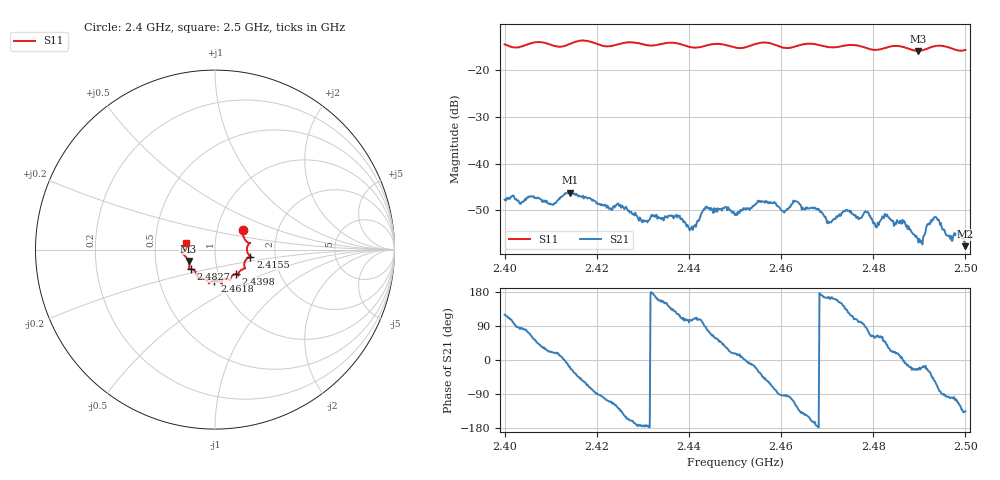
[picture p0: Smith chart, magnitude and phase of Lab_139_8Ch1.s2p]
# Hz S RI R 50
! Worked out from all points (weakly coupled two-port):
!   601 points, 2.4 GHz to 2.5 GHz, reference 50 ohm
!   highest |S21| = -46.19 dB at 2.4142 GHz (marker M1); lowest = -57.7 dB at 2.5 GHz (marker M2)
!   lowest |S11| = -15.9 dB at 2.4897 GHz (marker M3), VSWR 1.38, Z = 36.9 - j4.84 ohm
!   |S11| at or under -10 dB: start of sweep to end of sweep
!   S12 and S22 are empty: the file has one direction only
!   S11 on the Smith chart (normalised r, x): 2.4 GHz: 1.33, +0.29; 2.4155 GHz: 1.49, -0.12; 2.4398 GHz: 1.21, -0.34; 2.4618 GHz: 0.94, -0.33; 2.4827 GHz: 0.75, -0.17; 2.5 GHz: 0.72, +0.06
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2.4e9  0.1552 0.1067  -0.00203 0.00357  0 0  0 0
2.4105e9  0.182 0.0211  0.0034 0.00122  0 0  0 0
2.414167e9  0.1881 -0.0289  0.00468 -0.00149  0 0  0 0
2.4155e9  0.1977 -0.0396  0.00375 -0.00295  0 0  0 0
2.416667e9  0.2024 -0.0428  0.0028 -0.0034  0 0  0 0
2.430167e9  0.1516 -0.111  -0.00237 -0.00032  0 0  0 0
2.433333e9  0.1301 -0.1344  -0.00251 0.00101  0 0  0 0
2.439833e9  0.1152 -0.136  -0.000549 0.00205  0 0  0 0
2.443833e9  0.0854 -0.1623  0.00046 0.00346  0 0  0 0
2.45e9  0.0642 -0.162  0.00268 0.000845  0 0  0 0
2.4555e9  0.037 -0.1919  0.00317 -0.00224  0 0  0 0
2.461833e9  -0.0031 -0.1726  -0.000442 -0.00341  0 0  0 0
2.466667e9  -0.0346 -0.188  -0.0032 -0.00109  0 0  0 0
2.4705e9  -0.0528 -0.1674  -0.00225 0.0007  0 0  0 0
2.474e9  -0.0887 -0.1604  -0.00218 0.00231  0 0  0 0
2.4785e9  -0.1011 -0.1389  0.000269 0.00301  0 0  0 0
2.480667e9  -0.1154 -0.1168  0.000933 0.00185  0 0  0 0
2.482667e9  -0.1348 -0.1084  0.0019 0.00205  0 0  0 0
2.483333e9  -0.14 -0.1082  0.00228 0.00139  0 0  0 0
2.489667e9  -0.147 -0.0639  0.00145 -0.000638  0 0  0 0
2.493667e9  -0.18 -0.0236  0.00119 -0.0024  0 0  0 0
2.5e9  -0.1594 0.0389  -0.000931 -0.000923  0 0  0 0
